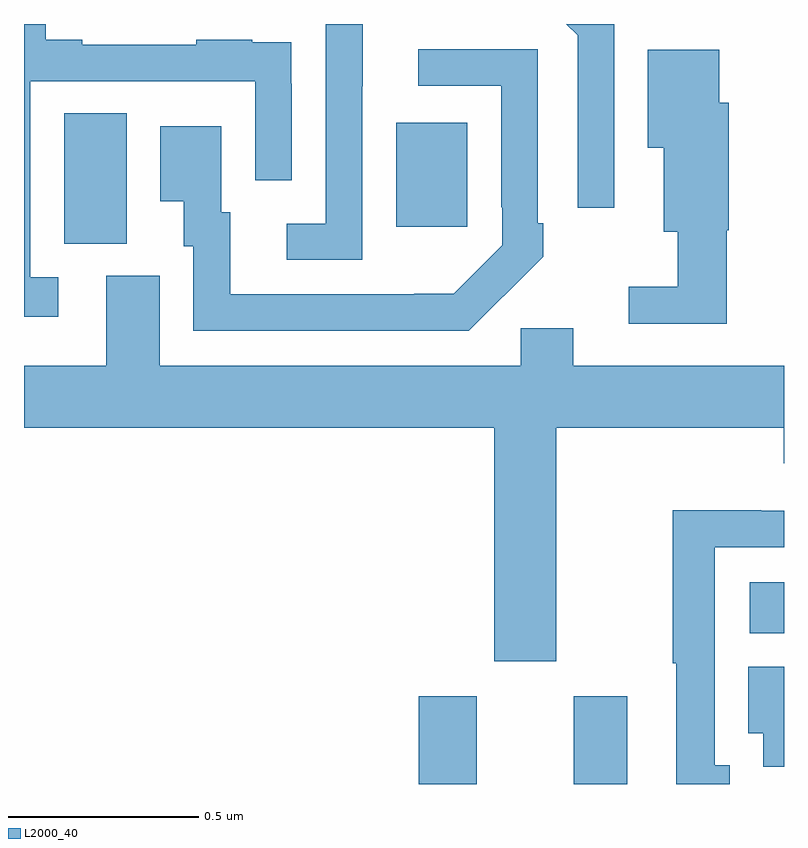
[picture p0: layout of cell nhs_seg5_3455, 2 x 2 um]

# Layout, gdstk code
import gdstk
lib = gdstk.Library(unit=1e-6, precision=1e-09)
def R(c, l, rs):  # rectangles x0, y0, x1, y1
    for r in rs: c.add(gdstk.rectangle(r[:2], r[2:], *l))
def P(c, l, *ps):  # polygons
    for p in ps: c.add(gdstk.Polygon(p, *l))
L2000_40 = (2000, 40)

nhs_seg5_3455 = lib.new_cell('nhs_seg5_3455')
R(nhs_seg5_3455, L2000_40, [(158.039,879.799,158.191,880.03), (158.447,879.799,158.587,880.03), (158.91,880.196,159,880.33), (157.106,881.221,157.27,881.564), (157.979,881.265,158.167,881.539)])
P(nhs_seg5_3455, L2000_40, [(157.09,881.133),(157.017,881.133),(157.017,881.649),(157.608,881.649),(157.608,881.388),(157.704,881.388),(157.704,881.642),(157.703,881.642),(157.703,881.751),(157.601,881.751),(157.601,881.758),(157.453,881.758),(157.453,881.745),(157.153,881.745),(157.153,881.758),(157.057,881.758),(157.057,881.799),(157,881.799),(157,881.028),(157.09,881.028)],
  [(157.89,881.635),(157.891,881.635),(157.891,881.799),(157.794,881.799),(157.794,881.274),(157.692,881.274),(157.692,881.178),(157.89,881.178)],
  [(158.553,881.799),(158.427,881.799),(158.457,881.769),(158.457,881.316),(158.553,881.316)],
  [(158.261,881.083),(158.262,881.082),(158.367,881.187),(158.367,881.275),(158.352,881.275),(158.352,881.733),(158.037,881.733),(158.037,881.637),(158.256,881.637),(158.256,881.317),(158.259,881.317),(158.259,881.217),(158.131,881.089),(158.027,881.089),(158.027,881.088),(157.543,881.088),(157.543,881.304),(157.519,881.304),(157.519,881.53),(157.358,881.53),(157.358,881.333),(157.421,881.333),(157.421,881.214),(157.446,881.214),(157.446,880.992),(158.17,880.992)],
  [(158.849,881.256),(158.855,881.256),(158.855,881.592),(158.83,881.592),(158.83,881.731),(158.642,881.731),(158.642,881.474),(158.684,881.474),(158.684,881.252),(158.721,881.252),(158.721,881.107),(158.592,881.107),(158.592,881.01),(158.849,881.01)],
  [(158.401,880.736),(158.999,880.736),(158.999,880.643),(159,880.643),(159,880.9),(158.446,880.9),(158.446,880.998),(158.307,880.998),(158.307,880.9),(157.357,880.9),(157.357,881.136),(157.217,881.136),(157.217,880.9),(157,880.9),(157,880.736),(158.237,880.736),(158.237,880.122),(158.401,880.122)],
  [(158.857,879.849),(158.818,879.849),(158.818,880.422),(159,880.422),(159,880.518),(158.94,880.518),(158.94,880.52),(158.707,880.52),(158.707,880.117),(158.717,880.117),(158.717,879.799),(158.857,879.799)],
  [(159,880.108),(158.906,880.108),(158.906,879.932),(158.945,879.932),(158.945,879.845),(159,879.845)])

lib.write_gds('nhs_seg5_3455.gds')
